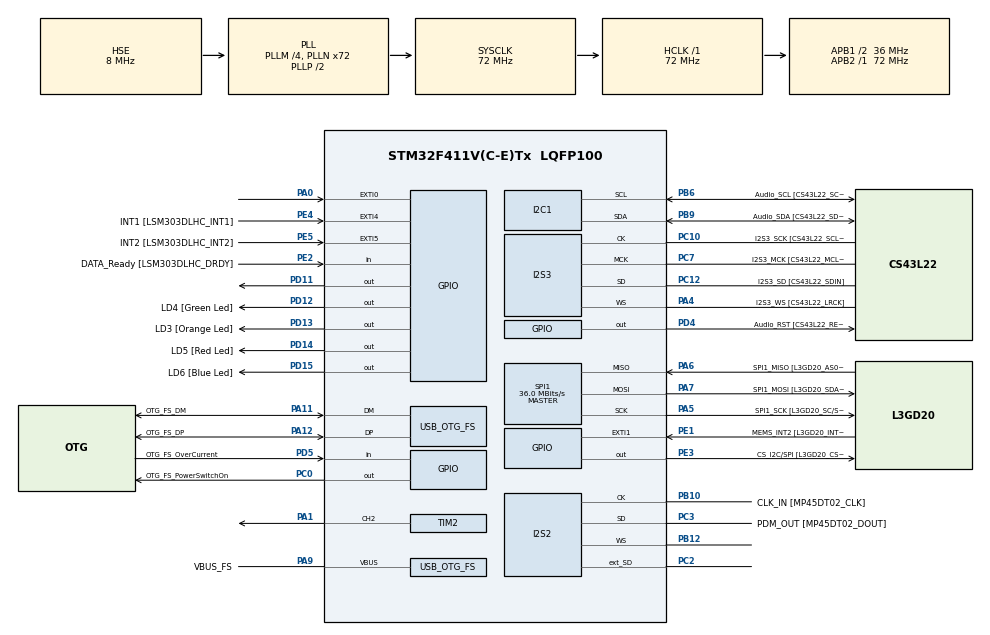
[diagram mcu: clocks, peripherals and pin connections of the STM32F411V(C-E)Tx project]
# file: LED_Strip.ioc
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Dma.Request0=TIM2_CH2/CH4
Dma.TIM2_CH2/CH4.0.Direction=DMA_MEMORY_TO_PERIPH
Dma.TIM2_CH2/CH4.0.FIFOMode=DMA_FIFOMODE_DISABLE
Dma.TIM2_CH2/CH4.0.Instance=DMA1_Stream6
Dma.TIM2_CH2/CH4.0.MemDataAlignment=DMA_MDATAALIGN_HALFWORD
Dma.TIM2_CH2/CH4.0.MemInc=DMA_MINC_ENABLE
Dma.TIM2_CH2/CH4.0.Mode=DMA_NORMAL
Dma.TIM2_CH2/CH4.0.PeriphDataAlignment=DMA_PDATAALIGN_HALFWORD
Dma.TIM2_CH2/CH4.0.PeriphInc=DMA_PINC_DISABLE
Dma.TIM2_CH2/CH4.0.Priority=DMA_PRIORITY_LOW
I2S2.AudioFreq=I2S_AUDIOFREQ_96K
I2S2.ErrorAudioFreq=0.15 %
I2S2.FullDuplexMode=I2S_FULLDUPLEXMODE_ENABLE
I2S2.Instance=SPI$Index
I2S2.RealAudioFreq=96.153 KHz
I2S2.VirtualMode=I2S_MODE_MASTER
I2S3.AudioFreq=I2S_AUDIOFREQ_96K
I2S3.ErrorAudioFreq=-6.99 %
I2S3.FullDuplexMode=I2S_FULLDUPLEXMODE_DISABLE
I2S3.Instance=SPI$Index
I2S3.RealAudioFreq=89.285 KHz
I2S3.VirtualMode=I2S_MODE_MASTER
Mcu.Family=STM32F4
Mcu.Name=STM32F411V(C-E)Tx
Mcu.Package=LQFP100
NVIC.DMA1_Stream6_IRQn=true\:0\:0\:false\:false\:true\:false\:true
NVIC.OTG_FS_IRQn=true\:0\:0\:false\:false\:true\:true\:true
NVIC.PriorityGroup=NVIC_PRIORITYGROUP_0
NVIC.TIM2_IRQn=true\:0\:0\:false\:false\:true\:true\:true
PA0-WKUP.GPIO_ModeDefaultEXTI=GPIO_MODE_EVT_RISING
PA0-WKUP.Signal=GPXTI0
PA1.Signal=S_TIM2_CH2
PA10.GPIO_Label=OTG_FS_ID
PA10.Signal=USB_OTG_FS_ID
PA11.GPIO_Label=OTG_FS_DM
PA11.Mode=Host_Only
PA11.Signal=USB_OTG_FS_DM
PA12.GPIO_Label=OTG_FS_DP
PA12.Mode=Host_Only
PA12.Signal=USB_OTG_FS_DP
PA13.GPIO_Label=SWDIO
PA13.Mode=Serial_Wire
PA13.Signal=SYS_JTMS-SWDIO
PA14.GPIO_Label=SWCLK
PA14.Mode=Serial_Wire
PA14.Signal=SYS_JTCK-SWCLK
PA4.GPIO_Label=I2S3_WS [CS43L22_LRCK]
PA4.GPIO_Mode=GPIO_MODE_AF_PP
PA4.GPIO_PuPd=GPIO_NOPULL
PA4.GPIO_Speed=GPIO_SPEED_FREQ_LOW
PA4.Mode=Half_Duplex_Master
PA4.Signal=I2S3_WS
PA5.GPIO_Label=SPI1_SCK [L3GD20_SC/SPC]
PA5.Mode=Full_Duplex_Master
PA5.Signal=SPI1_SCK
PA6.GPIO_Label=SPI1_MISO [L3GD20_AS0/SDO]
PA6.Mode=Full_Duplex_Master
PA6.Signal=SPI1_MISO
PA7.GPIO_Label=SPI1_MOSI [L3GD20_SDA/SDI/SDO]
PA7.Mode=Full_Duplex_Master
PA7.Signal=SPI1_MOSI
PA9.GPIO_Label=VBUS_FS
PA9.Mode=Activate_VBUS
PA9.Signal=USB_OTG_FS_VBUS
PB10.GPIO_Label=CLK_IN [MP45DT02_CLK]
PB10.Mode=Full_Duplex_Master
PB10.Signal=I2S2_CK
PB12.Mode=Full_Duplex_Master
PB12.Signal=I2S2_WS
PB3.GPIO_Label=SWO
PB3.Signal=SYS_JTDO-SWO
PB6.GPIO_Label=Audio_SCL [CS43L22_SCL]
PB6.GPIO_Mode=GPIO_MODE_AF_OD
PB6.GPIO_PuPd=GPIO_NOPULL
PB6.GPIO_Speed=GPIO_SPEED_FREQ_LOW
PB6.Mode=I2C
PB6.Signal=I2C1_SCL
PB9.GPIO_Label=Audio_SDA [CS43L22_SDA]
PB9.GPIO_Mode=GPIO_MODE_AF_OD
PB9.GPIO_PuPd=GPIO_NOPULL
PB9.GPIO_Speed=GPIO_SPEED_FREQ_LOW
PB9.Mode=I2C
PB9.Signal=I2C1_SDA
PC0.GPIO_Label=OTG_FS_PowerSwitchOn
PC0.PinState=GPIO_PIN_SET
PC0.Signal=GPIO_Output
PC10.GPIO_Label=I2S3_SCK [CS43L22_SCLK]
PC10.GPIO_Mode=GPIO_MODE_AF_PP
PC10.GPIO_PuPd=GPIO_NOPULL
PC10.GPIO_Speed=GPIO_SPEED_FREQ_LOW
PC10.Mode=Half_Duplex_Master
PC10.Signal=I2S3_CK
PC12.GPIO_Label=I2S3_SD [CS43L22_SDIN]
PC12.GPIO_Mode=GPIO_MODE_AF_PP
PC12.GPIO_PuPd=GPIO_NOPULL
PC12.GPIO_Speed=GPIO_SPEED_FREQ_LOW
PC12.Mode=Half_Duplex_Master
PC12.Signal=I2S3_SD
PC14-OSC32_IN.GPIO_Label=PC14-OSC32_IN
PC14-OSC32_IN.Signal=RCC_OSC32_IN
PC15-OSC32_OUT.GPIO_Label=PC15-OSC32_OUT
PC15-OSC32_OUT.Signal=RCC_OSC32_OUT
PC2.Mode=Full_Duplex_Master
PC2.Signal=I2S2_ext_SD
PC3.GPIO_Label=PDM_OUT [MP45DT02_DOUT]
PC3.Mode=Full_Duplex_Master
PC3.Signal=I2S2_SD
PC7.GPIO_Label=I2S3_MCK [CS43L22_MCLK]
PC7.GPIO_Mode=GPIO_MODE_AF_PP
PC7.GPIO_PuPd=GPIO_NOPULL
PC7.GPIO_Speed=GPIO_SPEED_FREQ_LOW
PC7.Mode=Master_Clock_Activated
PC7.Signal=I2S3_MCK
PD11.GPIO_Speed=GPIO_SPEED_FREQ_VERY_HIGH
PD11.Signal=GPIO_Output
PD12.GPIO_Label=LD4 [Green Led]
PD12.GPIO_PuPd=GPIO_NOPULL
PD12.GPIO_Speed=GPIO_SPEED_FREQ_LOW
PD12.Signal=GPIO_Output
PD13.GPIO_Label=LD3 [Orange Led]
PD13.GPIO_PuPd=GPIO_NOPULL
PD13.GPIO_Speed=GPIO_SPEED_FREQ_LOW
PD13.Signal=GPIO_Output
PD14.GPIO_Label=LD5 [Red Led]
PD14.GPIO_PuPd=GPIO_NOPULL
PD14.GPIO_Speed=GPIO_SPEED_FREQ_LOW
PD14.Signal=GPIO_Output
PD15.GPIO_Label=LD6 [Blue Led]
PD15.GPIO_PuPd=GPIO_NOPULL
PD15.GPIO_Speed=GPIO_SPEED_FREQ_LOW
PD15.Signal=GPIO_Output
PD4.GPIO_Label=Audio_RST [CS43L22_RESET]
PD4.Signal=GPIO_Output
PD5.GPIO_Label=OTG_FS_OverCurrent
PD5.Signal=GPIO_Input
PE1.GPIO_Label=MEMS_INT2 [L3GD20_INT2]
PE1.GPIO_ModeDefaultEXTI=GPIO_MODE_EVT_RISING
PE1.Signal=GPXTI1
PE2.GPIO_Label=DATA_Ready [LSM303DLHC_DRDY]
PE2.Signal=GPIO_Input
PE3.GPIO_Label=CS_I2C/SPI [L3GD20_CS_I2C/SPI]
PE3.Signal=GPIO_Output
PE4.GPIO_Label=INT1 [LSM303DLHC_INT1]
PE4.GPIO_ModeDefaultEXTI=GPIO_MODE_EVT_RISING
PE4.Signal=GPXTI4
PE5.GPIO_Label=INT2 [LSM303DLHC_INT2]
PE5.GPIO_ModeDefaultEXTI=GPIO_MODE_EVT_RISING
PE5.Signal=GPXTI5
PH0\ -\ OSC_IN.GPIO_Label=PH0-OSC_IN
PH0\ -\ OSC_IN.Mode=HSE-External-Oscillator
PH0\ -\ OSC_IN.Signal=RCC_OSC_IN
PH1\ -\ OSC_OUT.GPIO_Label=PH1-OSC_OUT
PH1\ -\ OSC_OUT.Mode=HSE-External-Oscillator
PH1\ -\ OSC_OUT.Signal=RCC_OSC_OUT
ProjectManager.HeapSize=0x200
ProjectManager.StackSize=0x400
ProjectManager.TargetToolchain=STM32CubeIDE
RCC.48MHZClocksFreq_Value=48000000
RCC.AHBFreq_Value=72000000
RCC.APB1CLKDivider=RCC_HCLK_DIV2
RCC.APB1Freq_Value=36000000
RCC.APB1TimFreq_Value=72000000
RCC.APB2Freq_Value=72000000
RCC.APB2TimFreq_Value=72000000
RCC.CortexFreq_Value=72000000
RCC.HCLKFreq_Value=72000000
RCC.HSE_VALUE=8000000
RCC.HSI_VALUE=16000000
RCC.LSE_VALUE=32768
RCC.PLLI2SM=5
RCC.PLLI2SN=200
RCC.PLLM=4
RCC.PLLN=72
RCC.PLLQ=3
RCC.SYSCLKFreq_VALUE=72000000
RCC.SYSCLKSource=RCC_SYSCLKSOURCE_PLLCLK
RCC.VCOOutputFreq_Value=144000000
SH.S_TIM2_CH2.0=TIM2_CH2,PWM Generation2 CH2
SPI1.BaudRatePrescaler=SPI_BAUDRATEPRESCALER_2
SPI1.CalculateBaudRate=36.0 MBits/s
SPI1.Direction=SPI_DIRECTION_2LINES
SPI1.Mode=SPI_MODE_MASTER
SPI1.VirtualType=VM_MASTER
TIM2.Channel-PWM\ Generation2\ CH2=TIM_CHANNEL_2
TIM2.Period=8999
USB_HOST.BSP.number=1
USB_HOST.USBH_HandleTypeDef=hUsbHostFS
USB_HOST.VirtualModeFS=Cdc
USB_HOST0.BSP.STBoard=false
USB_HOST0.BSP.api=Unknown
USB_HOST0.BSP.i2caddr=0
USB_HOST0.BSP.i2creg=0
USB_HOST0.BSP.instance=PC0
USB_HOST0.BSP.ip=GPIO
USB_HOST0.BSP.mode=Output
USB_HOST0.BSP.name=Drive_VBUS_FS
USB_HOST0.BSP.solution=PC0
USB_OTG_FS.VirtualMode=Host_Only
USB_OTG_FS.phy_itface=HCD_PHY_EMBEDDED
VP_TIM2_VS_ClockSourceINT.Mode=Internal
VP_USB_HOST_VS_USB_HOST_CDC_FS.Mode=CDC_FS
board=STM32F411E-DISCO

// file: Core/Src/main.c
/* USER CODE BEGIN Header */
/**
  ******************************************************************************
  * @file           : main.c
  * @brief          : Main program body
  ******************************************************************************
  * @attention
  *
  * <h2><center>&copy; Copyright (c) 2020 STMicroelectronics.
  * All rights reserved.</center></h2>
  *
  * This software component is licensed by ST under Ultimate Liberty license
  * SLA0044, the "License"; You may not use this file except in compliance with
  * the License. You may obtain a copy of the License at:
  *                             www.st.com/SLA0044
  *
  ******************************************************************************
  */
/* USER CODE END Header */
#include "main.h"
#include "usb_host.h"

/* USER CODE BEGIN Includes */
#include "ws2812.h"
#include <string.h>
#include <stdlib.h>
#include <stdint.h>
/* USER CODE END Includes */

I2C_HandleTypeDef hi2c1;

I2S_HandleTypeDef hi2s2;
I2S_HandleTypeDef hi2s3;

SPI_HandleTypeDef hspi1;

TIM_HandleTypeDef htim2;
DMA_HandleTypeDef hdma_tim2_ch2_ch4;

/* USER CODE BEGIN PV */
extern uint16_t BUF_DMA [ARRAY_LEN];
/* USER CODE END PV */

void SystemClock_Config(void);
static void MX_GPIO_Init(void);
static void MX_DMA_Init(void);
static void MX_I2C1_Init(void);
static void MX_I2S2_Init(void);
static void MX_I2S3_Init(void);
static void MX_SPI1_Init(void);
static void MX_TIM2_Init(void);
void MX_USB_HOST_Process(void);

/* USER CODE BEGIN PFP */
inline void  __attribute__((always_inline)) udelay_asm (uint32_t useconds) {
	asm volatile("   mov r0, %[useconds]    \n\t"
                 "1: subs r0, #1            \n\t"
                 "   bhi 1b                 \n\t"
                 :
                 : [useconds] "r" (useconds)
                 : "r0");
}

void int_to_bin_digit(unsigned int in, int count, int* out)
{
    unsigned int mask = 1U << (count-1);
    int i;
    for (i = 0; i < count; i++) {
        out[i] = (in & mask) ? 1 : 0;
        in <<= 1;
    }
}

void RGB_decoder(int R, int G, int B, int* out) {
    int binR[9];
    int_to_bin_digit(R, 9, binR);
    int binG[9];
    int_to_bin_digit(G, 9, binG);
    int binB[9];
    int_to_bin_digit(B, 8, binB);

    for (int i = 0; i < 8; i++) {
        out[i] = binG[i];
        out[i+8] = binR[i];
        out[i+16] = binB[i];
    }
}
// GPIOD->ODR |= (1<<11); //
// GPIOD->ODR &= ~(1<<11);
void light_strip(int* data) {
	int data_size = 24;
	for(size_t i = 0; i<data_size; ++i){
			if(data[i] == 0){
				GPIOD->BSRR = (1<<11);
				udelay_asm(7);
				GPIOD->BSRR = (1<< (11 + 16) );
				udelay_asm(9);
			} else{
				GPIOD->BSRR = (1<<11);
				udelay_asm(16);
				GPIOD->BSRR = (1<< (11 + 16) );
				udelay_asm(1);
			}
		  }

}

/* USER CODE END PFP */

int main(void)
{

  /* MCU Configuration--------------------------------------------------------*/

  /* Reset of all peripherals, Initializes the Flash interface and the Systick. */
  HAL_Init();

  /* Configure the system clock */
  SystemClock_Config();

  /* Initialize all configured peripherals */
  MX_GPIO_Init();
  MX_DMA_Init();
  MX_I2C1_Init();
  MX_I2S2_Init();
  MX_I2S3_Init();
  MX_SPI1_Init();
  MX_USB_HOST_Init();
  MX_TIM2_Init();
  /* USER CODE BEGIN 2 */
  /*ws2812_pixel_rgb_to_buf_dma(128 , 0, 0, 0);*/
  // ws2812_pixel_rgb_to_buf_dma(0, 128, 0, 0);
  //HAL_TIM_PWM_Start_DMA(&htim2, TIM_CHANNEL_2, (uint32_t*)&BUF_DMA, ARRAY_LEN);
  /* USER CODE END 2 */

  /* Infinite loop */
  /* USER CODE BEGIN WHILE */
  GPIOD->BSRR = (1<<11);
  HAL_Delay(1);
  GPIOD->BSRR = (1<< (11 + 16) ); //
  HAL_Delay(1);

  int data1[24];
  int data3[24];
  int data2[24];

  RGB_decoder(0, 204, 255, data1);
  RGB_decoder(102, 0, 102, data2);
  RGB_decoder(51, 51, 153, data3);

  //int data[] = {0, 0, 0, 0, 0, 0, 0, 0, 0, 0, 0, 0, 0, 0, 0, 0, 0, 0, 0, 0, 0, 0, 0, 0};
  //size_t data_size = 24; //sizeof(data)/sizeof(data[0]);
  //int i = 0;
  //add_led(256, 0, 0, data, i);
  while (1)
  {

	  light_strip(data1);
	  light_strip(data2);
	  light_strip(data3);
	  light_strip(data1);
	  	  light_strip(data2);
	  	  light_strip(data3);
	  	light_strip(data1);
	  		  light_strip(data2);
	  		  light_strip(data3);
	  		light_strip(data1);
	  			  	  light_strip(data2);
	  			  	  light_strip(data3);
	  			  	light_strip(data1);
	  			  		  light_strip(data2);
	  			  		  light_strip(data3);
	  /*light_strip(data);
	  light_strip(data);
	  light_strip(data2);*/
	  /*for(size_t i = 0; i<data_size; ++i){
		if(data[i] == 0){
			GPIOD->BSRR = (1<<11); // GPIOD->ODR |= (1<<11); //
			udelay_asm(7);
			GPIOD->BSRR = (1<< (11 + 16) ); // GPIOD->ODR &= ~(1<<11);
			udelay_asm(9);
		} else{
			GPIOD->BSRR = (1<<11); //
			udelay_asm(16);
			GPIOD->BSRR = (1<< (11 + 16) ); //
			udelay_asm(1);
		}

	  }*/
	  /*for(size_t i = 0; i<data_size; ++i){
		if(data[i] == 0){
			GPIOD->BSRR = (1<<11); // GPIOD->ODR |= (1<<11); //
			udelay_asm(7);
			GPIOD->BSRR = (1<< (11 + 16) ); // GPIOD->ODR &= ~(1<<11);
			udelay_asm(9);
		} else{
			GPIOD->BSRR = (1<<11); //
			udelay_asm(16);
			GPIOD->BSRR = (1<< (11 + 16) ); //
			udelay_asm(1);
		}

	  }*/
	  //GPIOD->BSRR = (1<<11);
	  //HAL_Delay(1);
	  //GPIOD->BSRR = (1<< (11 + 16) ); //
	  //HAL_Delay(1);
	  HAL_Delay(10);
    /* USER CODE END WHILE */
    //MX_USB_HOST_Process();

  }
}

void SystemClock_Config(void)
{
  RCC_OscInitTypeDef RCC_OscInitStruct = {0};
  RCC_ClkInitTypeDef RCC_ClkInitStruct = {0};
  RCC_PeriphCLKInitTypeDef PeriphClkInitStruct = {0};

  /** Configure the main internal regulator output voltage
  */
  __HAL_RCC_PWR_CLK_ENABLE();
  __HAL_PWR_VOLTAGESCALING_CONFIG(PWR_REGULATOR_VOLTAGE_SCALE1);
  /** Initializes the RCC Oscillators according to the specified parameters
  * in the RCC_OscInitTypeDef structure.
  */
  RCC_OscInitStruct.OscillatorType = RCC_OSCILLATORTYPE_HSE;
  RCC_OscInitStruct.HSEState = RCC_HSE_ON;
  RCC_OscInitStruct.PLL.PLLState = RCC_PLL_ON;
  RCC_OscInitStruct.PLL.PLLSource = RCC_PLLSOURCE_HSE;
  RCC_OscInitStruct.PLL.PLLM = 4;
  RCC_OscInitStruct.PLL.PLLN = 72;
  RCC_OscInitStruct.PLL.PLLP = RCC_PLLP_DIV2;
  RCC_OscInitStruct.PLL.PLLQ = 3;
  if (HAL_RCC_OscConfig(&RCC_OscInitStruct) != HAL_OK)
  {
    Error_Handler();
  }
  /** Initializes the CPU, AHB and APB buses clocks
  */
  RCC_ClkInitStruct.ClockType = RCC_CLOCKTYPE_HCLK|RCC_CLOCKTYPE_SYSCLK
                              |RCC_CLOCKTYPE_PCLK1|RCC_CLOCKTYPE_PCLK2;
  RCC_ClkInitStruct.SYSCLKSource = RCC_SYSCLKSOURCE_PLLCLK;
  RCC_ClkInitStruct.AHBCLKDivider = RCC_SYSCLK_DIV1;
  RCC_ClkInitStruct.APB1CLKDivider = RCC_HCLK_DIV2;
  RCC_ClkInitStruct.APB2CLKDivider = RCC_HCLK_DIV1;

  if (HAL_RCC_ClockConfig(&RCC_ClkInitStruct, FLASH_LATENCY_2) != HAL_OK)
  {
    Error_Handler();
  }
  PeriphClkInitStruct.PeriphClockSelection = RCC_PERIPHCLK_I2S;
  PeriphClkInitStruct.PLLI2S.PLLI2SN = 200;
  PeriphClkInitStruct.PLLI2S.PLLI2SM = 5;
  PeriphClkInitStruct.PLLI2S.PLLI2SR = 2;
  if (HAL_RCCEx_PeriphCLKConfig(&PeriphClkInitStruct) != HAL_OK)
  {
    Error_Handler();
  }
}

static void MX_I2C1_Init(void)
{

  hi2c1.Instance = I2C1;
  hi2c1.Init.ClockSpeed = 100000;
  hi2c1.Init.DutyCycle = I2C_DUTYCYCLE_2;
  hi2c1.Init.OwnAddress1 = 0;
  hi2c1.Init.AddressingMode = I2C_ADDRESSINGMODE_7BIT;
  hi2c1.Init.DualAddressMode = I2C_DUALADDRESS_DISABLE;
  hi2c1.Init.OwnAddress2 = 0;
  hi2c1.Init.GeneralCallMode = I2C_GENERALCALL_DISABLE;
  hi2c1.Init.NoStretchMode = I2C_NOSTRETCH_DISABLE;
  if (HAL_I2C_Init(&hi2c1) != HAL_OK)
  {
    Error_Handler();
  }

}

static void MX_I2S2_Init(void)
{

  hi2s2.Instance = SPI2;
  hi2s2.Init.Mode = I2S_MODE_MASTER_TX;
  hi2s2.Init.Standard = I2S_STANDARD_PHILIPS;
  hi2s2.Init.DataFormat = I2S_DATAFORMAT_16B;
  hi2s2.Init.MCLKOutput = I2S_MCLKOUTPUT_DISABLE;
  hi2s2.Init.AudioFreq = I2S_AUDIOFREQ_96K;
  hi2s2.Init.CPOL = I2S_CPOL_LOW;
  hi2s2.Init.ClockSource = I2S_CLOCK_PLL;
  hi2s2.Init.FullDuplexMode = I2S_FULLDUPLEXMODE_ENABLE;
  if (HAL_I2S_Init(&hi2s2) != HAL_OK)
  {
    Error_Handler();
  }

}

static void MX_I2S3_Init(void)
{

  hi2s3.Instance = SPI3;
  hi2s3.Init.Mode = I2S_MODE_MASTER_TX;
  hi2s3.Init.Standard = I2S_STANDARD_PHILIPS;
  hi2s3.Init.DataFormat = I2S_DATAFORMAT_16B;
  hi2s3.Init.MCLKOutput = I2S_MCLKOUTPUT_ENABLE;
  hi2s3.Init.AudioFreq = I2S_AUDIOFREQ_96K;
  hi2s3.Init.CPOL = I2S_CPOL_LOW;
  hi2s3.Init.ClockSource = I2S_CLOCK_PLL;
  hi2s3.Init.FullDuplexMode = I2S_FULLDUPLEXMODE_DISABLE;
  if (HAL_I2S_Init(&hi2s3) != HAL_OK)
  {
    Error_Handler();
  }

}

static void MX_SPI1_Init(void)
{

  /* SPI1 parameter configuration*/
  hspi1.Instance = SPI1;
  hspi1.Init.Mode = SPI_MODE_MASTER;
  hspi1.Init.Direction = SPI_DIRECTION_2LINES;
  hspi1.Init.DataSize = SPI_DATASIZE_8BIT;
  hspi1.Init.CLKPolarity = SPI_POLARITY_LOW;
  hspi1.Init.CLKPhase = SPI_PHASE_1EDGE;
  hspi1.Init.NSS = SPI_NSS_SOFT;
  hspi1.Init.BaudRatePrescaler = SPI_BAUDRATEPRESCALER_2;
  hspi1.Init.FirstBit = SPI_FIRSTBIT_MSB;
  hspi1.Init.TIMode = SPI_TIMODE_DISABLE;
  hspi1.Init.CRCCalculation = SPI_CRCCALCULATION_DISABLE;
  hspi1.Init.CRCPolynomial = 10;
  if (HAL_SPI_Init(&hspi1) != HAL_OK)
  {
    Error_Handler();
  }

}

static void MX_TIM2_Init(void)
{

  TIM_ClockConfigTypeDef sClockSourceConfig = {0};
  TIM_MasterConfigTypeDef sMasterConfig = {0};
  TIM_OC_InitTypeDef sConfigOC = {0};

  htim2.Instance = TIM2;
  htim2.Init.Prescaler = 0;
  htim2.Init.CounterMode = TIM_COUNTERMODE_UP;
  htim2.Init.Period = 8999;
  htim2.Init.ClockDivision = TIM_CLOCKDIVISION_DIV1;
  htim2.Init.AutoReloadPreload = TIM_AUTORELOAD_PRELOAD_DISABLE;
  if (HAL_TIM_Base_Init(&htim2) != HAL_OK)
  {
    Error_Handler();
  }
  sClockSourceConfig.ClockSource = TIM_CLOCKSOURCE_INTERNAL;
  if (HAL_TIM_ConfigClockSource(&htim2, &sClockSourceConfig) != HAL_OK)
  {
    Error_Handler();
  }
  if (HAL_TIM_PWM_Init(&htim2) != HAL_OK)
  {
    Error_Handler();
  }
  sMasterConfig.MasterOutputTrigger = TIM_TRGO_RESET;
  sMasterConfig.MasterSlaveMode = TIM_MASTERSLAVEMODE_DISABLE;
  if (HAL_TIMEx_MasterConfigSynchronization(&htim2, &sMasterConfig) != HAL_OK)
  {
    Error_Handler();
  }
  sConfigOC.OCMode = TIM_OCMODE_PWM1;
  sConfigOC.Pulse = 0;
  sConfigOC.OCPolarity = TIM_OCPOLARITY_HIGH;
  sConfigOC.OCFastMode = TIM_OCFAST_DISABLE;
  if (HAL_TIM_PWM_ConfigChannel(&htim2, &sConfigOC, TIM_CHANNEL_2) != HAL_OK)
  {
    Error_Handler();
  }
  HAL_TIM_MspPostInit(&htim2);

}

static void MX_DMA_Init(void)
{

  /* DMA controller clock enable */
  __HAL_RCC_DMA1_CLK_ENABLE();

  /* DMA interrupt init */
  /* DMA1_Stream6_IRQn interrupt configuration */
  HAL_NVIC_SetPriority(DMA1_Stream6_IRQn, 0, 0);
  HAL_NVIC_EnableIRQ(DMA1_Stream6_IRQn);

}

static void MX_GPIO_Init(void)
{
  GPIO_InitTypeDef GPIO_InitStruct = {0};

  /* GPIO Ports Clock Enable */
  __HAL_RCC_GPIOE_CLK_ENABLE();
  __HAL_RCC_GPIOC_CLK_ENABLE();
  __HAL_RCC_GPIOH_CLK_ENABLE();
  __HAL_RCC_GPIOA_CLK_ENABLE();
  __HAL_RCC_GPIOB_CLK_ENABLE();
  __HAL_RCC_GPIOD_CLK_ENABLE();

  /*Configure GPIO pin Output Level */
  HAL_GPIO_WritePin(CS_I2C_SPI_GPIO_Port, CS_I2C_SPI_Pin, GPIO_PIN_RESET);

  /*Configure GPIO pin Output Level */
  HAL_GPIO_WritePin(OTG_FS_PowerSwitchOn_GPIO_Port, OTG_FS_PowerSwitchOn_Pin, GPIO_PIN_SET);

  /*Configure GPIO pin Output Level */
  HAL_GPIO_WritePin(GPIOD, GPIO_PIN_11|LD4_Pin|LD3_Pin|LD5_Pin
                          |LD6_Pin|Audio_RST_Pin, GPIO_PIN_RESET);

  /*Configure GPIO pin : DATA_Ready_Pin */
  GPIO_InitStruct.Pin = DATA_Ready_Pin;
  GPIO_InitStruct.Mode = GPIO_MODE_INPUT;
  GPIO_InitStruct.Pull = GPIO_NOPULL;
  HAL_GPIO_Init(DATA_Ready_GPIO_Port, &GPIO_InitStruct);

  /*Configure GPIO pin : CS_I2C_SPI_Pin */
  GPIO_InitStruct.Pin = CS_I2C_SPI_Pin;
  GPIO_InitStruct.Mode = GPIO_MODE_OUTPUT_PP;
  GPIO_InitStruct.Pull = GPIO_NOPULL;
  GPIO_InitStruct.Speed = GPIO_SPEED_FREQ_LOW;
  HAL_GPIO_Init(CS_I2C_SPI_GPIO_Port, &GPIO_InitStruct);

  /*Configure GPIO pins : INT1_Pin INT2_Pin MEMS_INT2_Pin */
  GPIO_InitStruct.Pin = INT1_Pin|INT2_Pin|MEMS_INT2_Pin;
  GPIO_InitStruct.Mode = GPIO_MODE_EVT_RISING;
  GPIO_InitStruct.Pull = GPIO_NOPULL;
  HAL_GPIO_Init(GPIOE, &GPIO_InitStruct);

  /*Configure GPIO pin : OTG_FS_PowerSwitchOn_Pin */
  GPIO_InitStruct.Pin = OTG_FS_PowerSwitchOn_Pin;
  GPIO_InitStruct.Mode = GPIO_MODE_OUTPUT_PP;
  GPIO_InitStruct.Pull = GPIO_NOPULL;
  GPIO_InitStruct.Speed = GPIO_SPEED_FREQ_LOW;
  HAL_GPIO_Init(OTG_FS_PowerSwitchOn_GPIO_Port, &GPIO_InitStruct);

  /*Configure GPIO pin : PA0 */
  GPIO_InitStruct.Pin = GPIO_PIN_0;
  GPIO_InitStruct.Mode = GPIO_MODE_EVT_RISING;
  GPIO_InitStruct.Pull = GPIO_NOPULL;
  HAL_GPIO_Init(GPIOA, &GPIO_InitStruct);

  /*Configure GPIO pin : PD11 */
  GPIO_InitStruct.Pin = GPIO_PIN_11;
  GPIO_InitStruct.Mode = GPIO_MODE_OUTPUT_PP;
  GPIO_InitStruct.Pull = GPIO_NOPULL;
  GPIO_InitStruct.Speed = GPIO_SPEED_FREQ_VERY_HIGH;
  HAL_GPIO_Init(GPIOD, &GPIO_InitStruct);

  /*Configure GPIO pins : LD4_Pin LD3_Pin LD5_Pin LD6_Pin
                           Audio_RST_Pin */
  GPIO_InitStruct.Pin = LD4_Pin|LD3_Pin|LD5_Pin|LD6_Pin
                          |Audio_RST_Pin;
  GPIO_InitStruct.Mode = GPIO_MODE_OUTPUT_PP;
  GPIO_InitStruct.Pull = GPIO_NOPULL;
  GPIO_InitStruct.Speed = GPIO_SPEED_FREQ_LOW;
  HAL_GPIO_Init(GPIOD, &GPIO_InitStruct);

  /*Configure GPIO pin : OTG_FS_OverCurrent_Pin */
  GPIO_InitStruct.Pin = OTG_FS_OverCurrent_Pin;
  GPIO_InitStruct.Mode = GPIO_MODE_INPUT;
  GPIO_InitStruct.Pull = GPIO_NOPULL;
  HAL_GPIO_Init(OTG_FS_OverCurrent_GPIO_Port, &GPIO_InitStruct);

}

void Error_Handler(void)
{
}

/************************ (C) COPYRIGHT STMicroelectronics *****END OF FILE****/
